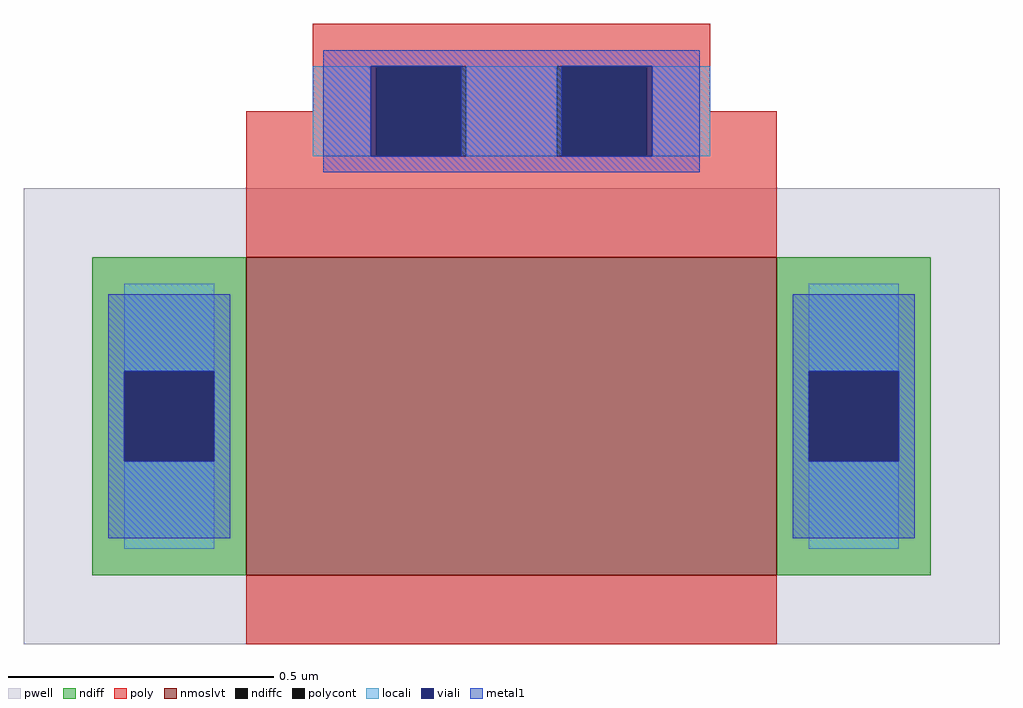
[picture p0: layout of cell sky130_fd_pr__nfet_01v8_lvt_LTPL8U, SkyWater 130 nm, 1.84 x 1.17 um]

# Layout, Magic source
magic
tech sky130A
magscale 1 2
<< pwell >>
rect -184 -117 184 55
<< nmoslvt >>
rect -100 -91 100 29
<< ndiff >>
rect -158 -14 -100 29
rect -158 -48 -146 -14
rect -112 -48 -100 -14
rect -158 -91 -100 -48
rect 100 -14 158 29
rect 100 -48 112 -14
rect 146 -48 158 -14
rect 100 -91 158 -48
<< ndiffc >>
rect -146 -48 -112 -14
rect 112 -48 146 -14
<< poly >>
rect -75 101 75 117
rect -75 84 -51 101
rect -100 67 -51 84
rect -17 67 17 101
rect 51 84 75 101
rect 51 67 100 84
rect -100 29 100 67
rect -100 -117 100 -91
<< polycont >>
rect -51 67 -17 101
rect 17 67 51 101
<< locali >>
rect -75 67 -53 101
rect -17 67 17 101
rect 53 67 75 101
rect -146 -14 -112 19
rect -146 -81 -112 -48
rect 112 -14 146 19
rect 112 -81 146 -48
<< viali >>
rect -53 67 -51 101
rect -51 67 -19 101
rect 19 67 51 101
rect 51 67 53 101
rect -146 -48 -112 -14
rect 112 -48 146 -14
<< metal1 >>
rect -71 101 71 107
rect -71 67 -53 101
rect -19 67 19 101
rect 53 67 71 101
rect -71 61 71 67
rect -152 -14 -106 15
rect -152 -48 -146 -14
rect -112 -48 -106 -14
rect -152 -77 -106 -48
rect 106 -14 152 15
rect 106 -48 112 -14
rect 146 -48 152 -14
rect 106 -77 152 -48
<< end >>
